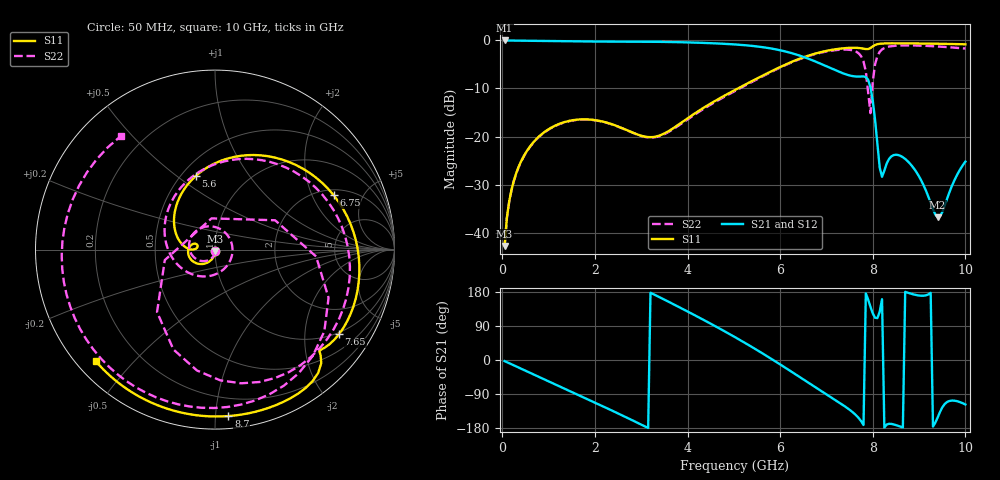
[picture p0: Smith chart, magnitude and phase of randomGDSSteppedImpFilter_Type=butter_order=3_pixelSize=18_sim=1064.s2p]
! freq	dB(S11)	phase(S11)	dB(S12)	phase(S12)
!  dB(S21)	phase(S21)	dB(S22)	phase(S22)
!S-par simulation data
#  GHz  S  DB  R 50
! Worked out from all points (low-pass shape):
!   200 points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, 50 MHz to 10 GHz, reference 50 ohm
!   highest |S21| = -0.02 dB at 50 MHz (marker M1); lowest = -36.8 dB at 9.4 GHz (marker M2)
!   |S21| within 3 dB of the highest: start of sweep to 6.373 GHz
!   lowest |S11| = -42.8 dB at 50 MHz (marker M3), VSWR 1.01, Z = 50.1 - j0.715 ohm
!   |S11| at or under -10 dB: start of sweep to 5.088 GHz
!   |S22| runs from -42.8 to -1.0 dB; largest |S21 - S12| = 0
!   S11 on the Smith chart (normalised r, x): 50 MHz: 1.00, -0.01; 5.6 GHz: 0.59, +0.59; 6.75 GHz: 2.27, +2.93; 7.65 GHz: 0.94, -2.97; 8.7 GHz: 0.08, -1.08; 10 GHz: 0.05, -0.39
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0.05  -42.76 -78.7  -0.02 -2.9  -0.02 -2.9  -42.81 -79.3
0.2  -31.04 -94.5  -0.04 -11.4  -0.04 -11.4  -31.12 -97.4
0.5  -23.48 -112.7  -0.08 -28.2  -0.08 -28.2  -23.56 -120.3
1.75  -16.42 -171.0  -0.24 -98.3  -0.24 -98.3  -16.47 153.7
2.65  -18.52 163.8  -0.26 -149.8  -0.26 -149.8  -18.54 75.7
3.4  -19.78 175.6  -0.31 165.4  -0.31 165.4  -19.91 -25.3
4.3  -14.31 169.1  -0.51 108.9  -0.51 108.9  -14.54 -132.8
5.05  -10.19 136.2  -0.87 58.6  -0.87 58.6  -10.39 158.5
5.6  -7.44 104.5  -1.39 18.9  -1.39 18.9  -7.59 110.2
6.2  -4.68 64.1  -2.53 -27.3  -2.53 -27.3  -4.78 57.8
6.7  -2.91 28.3  -4.16 -66.9  -4.16 -66.9  -3.01 14.4
6.75  -2.77 24.7  -4.36 -70.9  -4.36 -70.9  -2.87 10.1
7.25  -1.77 -9.6  -6.45 -110.2  -6.45 -110.2  -1.98 -33.7
7.65  -1.55 -34.3  -7.53 -147.2  -7.53 -147.2  -2.39 -78.9
7.85  -1.81 -43.5  -7.63 175.8  -7.63 175.8  -6.47 -132.9
7.95  -1.59 -45.0  -9.73 140.5  -9.73 140.5  -15.14 96.3
8.1  -0.79 -53.5  -21.51 110.6  -21.51 110.6  -3.25 -23.0
8.2  -0.66 -59.9  -28.39 160.4  -28.39 160.4  -1.89 -47.3
8.35  -0.62 -68.4  -24.69 -168.4  -24.69 -168.4  -1.29 -69.5
8.7  -0.63 -85.4  -24.67 179.8  -24.67 179.8  -1.05 -103.4
9.4  -0.70 -114.5  -36.82 -152.0  -36.82 -152.0  -1.27 -163.1
10  -0.82 -136.9  -25.22 -117.4  -25.22 -117.4  -1.71 129.8
